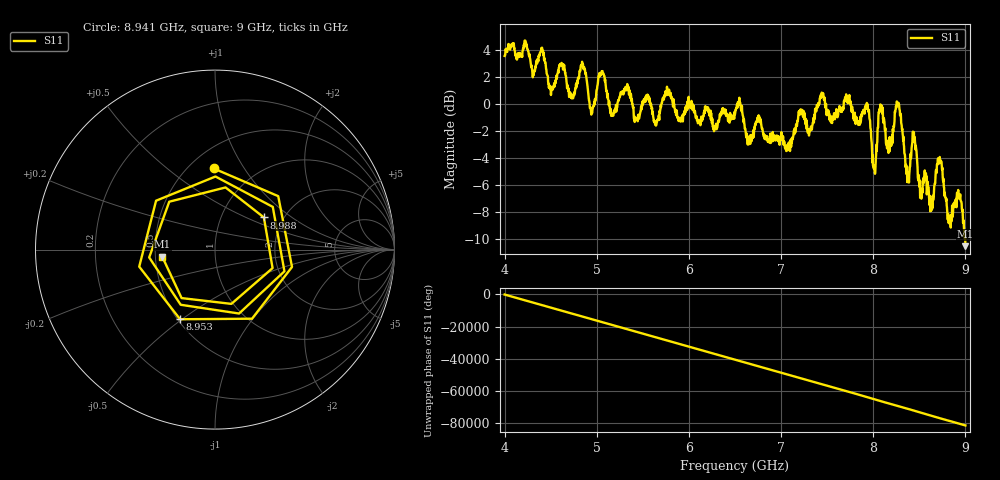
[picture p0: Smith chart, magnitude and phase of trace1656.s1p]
! Created with skrf 1.8.0 (http://scikit-rf.org).
# Hz S RI R 50.0
!freq ReS11 ImS11
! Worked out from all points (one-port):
!   1601 points, 4 GHz to 9 GHz, reference 50 ohm
!   lowest |S11| = -10.6 dB at 9 GHz (marker M1), VSWR 1.84, Z = 27.2 - j2.33 ohm
!   |S11| at or under -10 dB: 8.993949 GHz to 8.994088 GHz (139.1 kHz wide, 0.00155 % of centre); 8.99809 GHz to end of sweep
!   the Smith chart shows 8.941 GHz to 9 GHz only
!   S11 on the Smith chart (normalised r, x): 8.941 GHz: 0.65, +0.74; 8.953 GHz: 0.51, -0.49; 8.988 GHz: 1.59, +0.64; 9 GHz: 0.54, -0.05
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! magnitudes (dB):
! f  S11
! 4 GHz  3.5
! 4.4 GHz  4.1
! 4.506 GHz  0.9
! 4.625 GHz  2.8
! 4.725 GHz  0.4
! 4.85 GHz  2.9
! 4.944 GHz  -0.7
! 5.05 GHz  2.3
! 5.166 GHz  -0.8
! 5.25 GHz  0.5
! 5.875 GHz  -1.0
! 6.5 GHz  -0.8
! 7.125 GHz  -2.6
! 7.75 GHz  0.1
! 7.938 GHz  0.0
! 8.012 GHz  -4.7
! 8.078 GHz  -0.1
! 8.172 GHz  -3.3
! 8.272 GHz  0.1
! 8.375 GHz  -5.8
! 8.441 GHz  -2.1
! 8.628 GHz  -7.9
! 8.716 GHz  -4.4
! 8.828 GHz  -8.4
! 8.941 GHz  -6.9
! 8.953 GHz  -7.2
! 8.988 GHz  -9.7
! 9 GHz  -10.6
